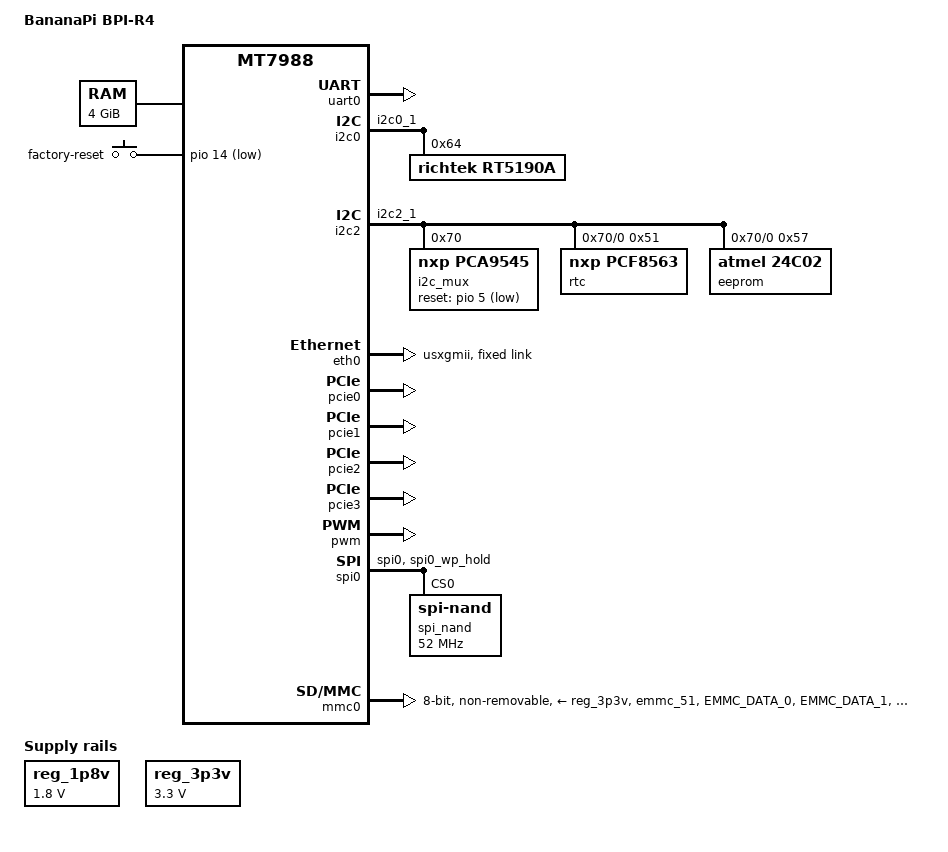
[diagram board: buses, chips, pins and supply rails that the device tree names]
// SPDX-License-Identifier: GPL-2.0
/*
 * Copyright (c) 2024 BananaPi
 * Copyright (c) 2026 KernelKit
 *
 * U-Boot device tree for BananaPi BPI-R4 (MediaTek MT7988A)
 * Based on Frank Wunderlich's work: https://github.com/frank-w/u-boot
 */

/dts-v1/;
#include "mt7988.dtsi"
#include <dt-bindings/gpio/gpio.h>
#include <dt-bindings/input/linux-event-codes.h>

/ {
	model = "BananaPi BPI-R4";
	compatible = "bananapi,bpi-r4", "mediatek,mt7988a", "mediatek,mt7988";

	chosen {
		stdout-path = &uart0;
	};

	memory@40000000 {
		device_type = "memory";
		reg = <0 0x40000000 1 0x00000000>; /* 4 GiB */
	};

	gpio-keys {
		compatible = "gpio-keys";

		factory-reset {
			label = "factory-reset";
			gpios = <&pio 14 GPIO_ACTIVE_LOW>;
			linux,code = <KEY_RESTART>;
		};
	};

	reg_1p8v: regulator-1p8v {
		compatible = "regulator-fixed";
		regulator-name = "fixed-1.8V";
		regulator-min-microvolt = <1800000>;
		regulator-max-microvolt = <1800000>;
		regulator-boot-on;
		regulator-always-on;
	};

	reg_3p3v: regulator-3p3v {
		compatible = "regulator-fixed";
		regulator-name = "fixed-3.3V";
		regulator-min-microvolt = <3300000>;
		regulator-max-microvolt = <3300000>;
		regulator-boot-on;
		regulator-always-on;
	};
};

&uart0 {
	status = "okay";
};

/* RT5190A PMIC */
&i2c0 {
	pinctrl-names = "default";
	pinctrl-0 = <&i2c0_pins>;
	status = "okay";

	rt5190a: pmic@64 {
		compatible = "richtek,rt5190a";
		reg = <0x64>;
	};
};

/* I2C mux: PCA9545 at 0x70, with RTC and board EEPROM on channel 0 */
&i2c2 {
	pinctrl-names = "default";
	pinctrl-0 = <&i2c2_1_pins>;
	status = "okay";

	i2c_mux: i2c-mux@70 {
		compatible = "nxp,pca9545";
		reg = <0x70>;
		reset-gpios = <&pio 5 GPIO_ACTIVE_LOW>;
		#address-cells = <1>;
		#size-cells = <0>;

		i2c_ch0: i2c@0 {
			#address-cells = <1>;
			#size-cells = <0>;
			reg = <0>;

			rtc@51 {
				compatible = "nxp,pcf8563";
				reg = <0x51>;
			};

			eeprom@57 {
				compatible = "atmel,24c02";
				reg = <0x57>;
			};
		};
	};
};

&eth0 {
	status = "okay";
	phy-mode = "usxgmii";
	mediatek,switch = "mt7988";

	fixed-link {
		speed = <10000>;
		full-duplex;
		pause;
	};
};

&pcie0 {
	status = "okay";
};

&pcie1 {
	status = "okay";
};

&pcie2 {
	status = "okay";
};

&pcie3 {
	status = "okay";
};

&pio {
	i2c0_pins: i2c0-g0-pins {
		mux {
			function = "i2c";
			groups = "i2c0_1";
		};
	};

	i2c2_1_pins: i2c2-g1-pins {
		mux {
			function = "i2c";
			groups = "i2c2_1";
		};
	};

	mmc0_pins_emmc: mmc0-emmc-pins {
		mux {
			function = "flash";
			groups = "emmc_51";
		};

		conf-cmd-dat {
			pins = "EMMC_DATA_0", "EMMC_DATA_1", "EMMC_DATA_2",
			       "EMMC_DATA_3", "EMMC_DATA_4", "EMMC_DATA_5",
			       "EMMC_DATA_6", "EMMC_DATA_7", "EMMC_CMD";
			input-enable;
			drive-strength = <MTK_DRIVE_4mA>;
			mediatek,pull-up-adv = <1>;
		};

		conf-clk {
			pins = "EMMC_CK";
			drive-strength = <MTK_DRIVE_6mA>;
			mediatek,pull-down-adv = <2>;
		};

		conf-dsl {
			pins = "EMMC_DSL";
			mediatek,pull-down-adv = <2>;
		};

		conf-rst {
			pins = "EMMC_RSTB";
			drive-strength = <MTK_DRIVE_4mA>;
			mediatek,pull-up-adv = <1>;
		};
	};

	spi0_flash_pins: spi0-flash-pins {
		mux {
			function = "spi";
			groups = "spi0", "spi0_wp_hold";
		};
	};
};

&pwm {
	status = "okay";
};

/* SPI NAND */
&spi0 {
	pinctrl-names = "default";
	pinctrl-0 = <&spi0_flash_pins>;
	#address-cells = <1>;
	#size-cells = <0>;
	status = "okay";
	enhance_timing;
	dma_ext;
	ipm_design;
	support_quad;
	tick_dly = <2>;
	sample_sel = <0>;

	spi_nand: flash@0 {
		compatible = "spi-nand";
		reg = <0>;
		spi-max-frequency = <52000000>;
		spi-tx-bus-width = <4>;
		spi-rx-bus-width = <4>;
	};
};

/* eMMC */
&mmc0 {
	pinctrl-names = "default";
	pinctrl-0 = <&mmc0_pins_emmc>;
	/* TODO (v2026.04+): raise to 200000000 and add mmc-hs200-1_8v for HS200
	 * mode.  CONFIG_MMC_HS200_SUPPORT is already enabled in the defconfig.
	 * Measure boot time before/after — 1.8V I/O signalling (vqmmc) must be
	 * confirmed working on the board first. */
	max-frequency = <52000000>;
	bus-width = <8>;
	cap-mmc-highspeed;
	cap-mmc-hw-reset;
	vmmc-supply = <&reg_3p3v>;
	vqmmc-supply = <&reg_1p8v>;
	non-removable;
	status = "okay";
};
